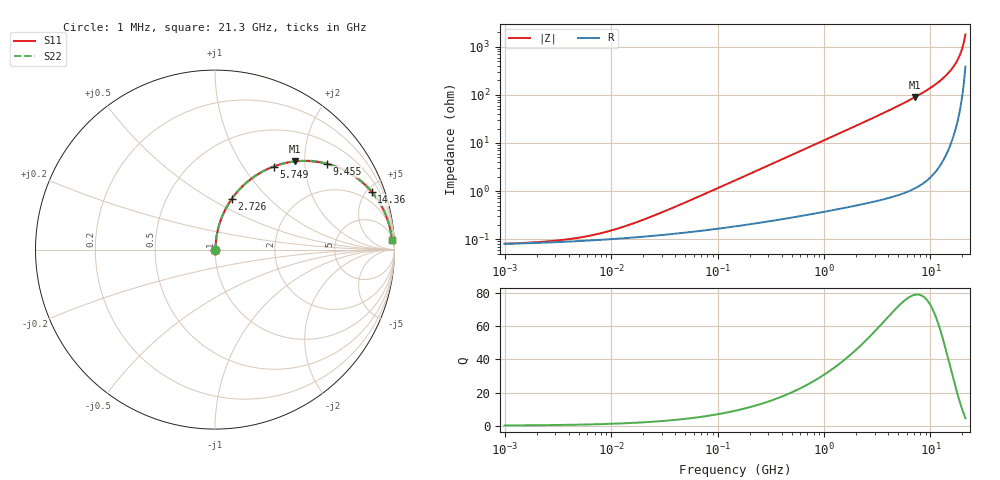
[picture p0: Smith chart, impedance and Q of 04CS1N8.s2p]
# MHz  S  MA  R  50
!Freq  MagS11  AngS11  MagS21  AngS21  MagS12  AngS12  MagS22  AngS22
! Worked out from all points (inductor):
!   1003 points, 1 MHz to 21.3 GHz, reference 50 ohm
!   read as one part in series: L = 1.8 nH near 33.2 MHz
!   highest Q = 78.9 at 7.156 GHz (marker M1), where L = 2 nH
!   S11 on the Smith chart (normalised r, x): 1 MHz: 1.00, +0.00; 2.726 GHz: 1.01, +0.63; 5.749 GHz: 1.02, +1.39; 9.455 GHz: 1.03, +2.58; 14.36 GHz: 1.13, +5.37; 21.3 GHz: 9, +35
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1  0.0008016 8.1  0.9992 -0.0  0.9992 -0.0  0.0008016 8.1
2.599273  0.0009004 19.0  0.9991 -0.0  0.9991 -0.0  0.0009004 19.0
5.268287  0.001092 33.0  0.9991 -0.0  0.9991 -0.0  0.001092 33.0
7.7661  0.001302 42.3  0.999 -0.1  0.999 -0.1  0.001302 42.3
11.44818  0.001646 51.7  0.999 -0.1  0.999 -0.1  0.001646 51.7
17.21523  0.002229 60.6  0.9989 -0.1  0.9989 -0.1  0.002229 60.6
27.75485  0.003355 69.0  0.9988 -0.2  0.9988 -0.2  0.003355 69.0
146.2205  0.01661 82.7  0.998 -0.9  0.998 -0.9  0.01661 82.7
372.5782  0.04208 84.2  0.9966 -2.4  0.9966 -2.4  0.04208 84.2
770.3316  0.08667 82.9  0.9929 -5.0  0.9929 -5.0  0.08667 82.9
1485.554  0.1657 79.0  0.9819 -9.5  0.9819 -9.5  0.1657 79.0
2725.789  0.297 71.7  0.9494 -17.3  0.9494 -17.3  0.297 71.7
4058.328  0.4258 63.9  0.8984 -25.2  0.8984 -25.2  0.4258 63.9
5749.038  0.5668 54.7  0.8164 -34.5  0.8164 -34.5  0.5668 54.7
7155.919  0.6638 47.7  0.7396 -41.6  0.7396 -41.6  0.6638 47.7
9455.051  0.7855 37.5  0.6085 -51.8  0.6085 -51.8  0.7855 37.5
11886.54  0.8731 28.3  0.4735 -60.8  0.4735 -60.8  0.8731 28.3
14360.24  0.9301 20.3  0.3462 -68.4  0.3462 -68.4  0.9301 20.3
16343.29  0.9587 14.7  0.2531 -73.4  0.2531 -73.4  0.9587 14.7
18053.16  0.9742 10.3  0.1792 -76.6  0.1792 -76.6  0.9742 10.3
19355.43  0.9816 7.3  0.1267 -78.0  0.1267 -78.0  0.9816 7.3
21300  0.9868 3.1  0.05457 -74.5  0.05457 -74.5  0.9868 3.1
